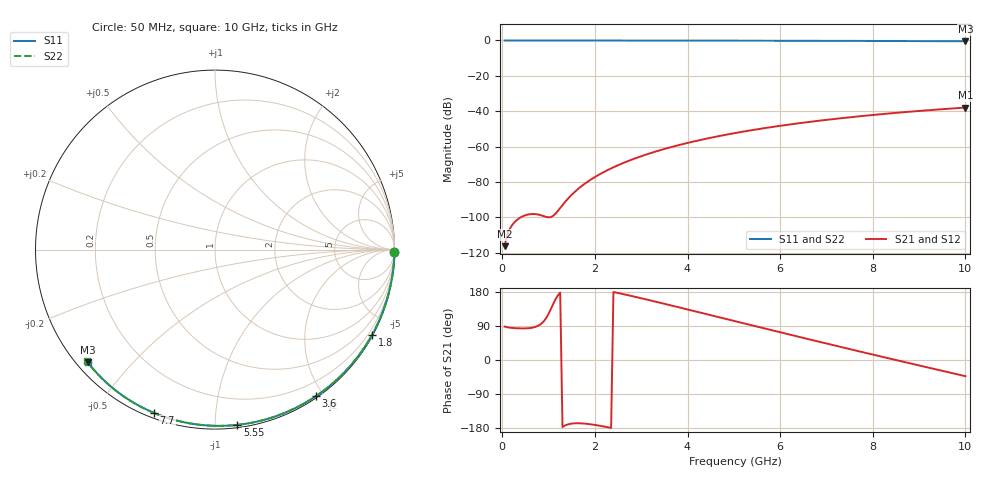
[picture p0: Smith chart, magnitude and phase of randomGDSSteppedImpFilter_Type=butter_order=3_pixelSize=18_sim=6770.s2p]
! freq	dB(S11)	phase(S11)	dB(S12)	phase(S12)
!  dB(S21)	phase(S21)	dB(S22)	phase(S22)
!S-par simulation data
#  GHz  S  DB  R 50
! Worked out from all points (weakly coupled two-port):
!   200 points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, 50 MHz to 10 GHz, reference 50 ohm
!   highest |S21| = -37.92 dB at 10 GHz (marker M1); lowest = -116.2 dB at 50 MHz (marker M2)
!   lowest |S11| = -0.5 dB at 10 GHz (marker M3), VSWR 36.94, Z = 1.55 - j18.9 ohm
!   |S11| at or under -10 dB: nowhere
!   |S22| runs from -0.5 to 0.0 dB; largest |S21 - S12| = 0
!   S11 on the Smith chart (normalised r, x): 50 MHz: open; 1.8 GHz: 0.03, -3.95; 3.6 GHz: 0.02, -1.90; 5.55 GHz: 0.02, -1.14; 7.7 GHz: 0.02, -0.69; 10 GHz: 0.03, -0.38
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0.05  -0.00 -0.8  -116.24 88.1  -116.24 88.1  -0.00 -0.8
0.45  -0.01 -7.2  -99.25 83.3  -99.25 83.3  -0.01 -7.2
0.9  -0.02 -14.3  -99.32 102.8  -99.32 102.8  -0.02 -14.4
1.75  -0.04 -27.6  -81.55 -167.5  -81.55 -167.5  -0.04 -27.7
1.8  -0.04 -28.4  -80.59 -168.1  -80.59 -168.1  -0.04 -28.5
1.85  -0.04 -29.2  -79.69 -168.8  -79.69 -168.8  -0.04 -29.3
2.05  -0.04 -32.2  -76.40 -172.3  -76.40 -172.3  -0.04 -32.4
2.25  -0.05 -35.3  -73.56 -176.8  -73.56 -176.8  -0.05 -35.5
2.55  -0.05 -39.9  -69.92 175.5  -69.92 175.5  -0.05 -40.0
2.95  -0.06 -45.9  -65.86 164.4  -65.86 164.4  -0.06 -46.1
3.4  -0.07 -52.5  -62.07 151.3  -62.07 151.3  -0.07 -52.8
3.6  -0.07 -55.4  -60.58 145.4  -60.58 145.4  -0.07 -55.7
3.9  -0.08 -59.8  -58.54 136.4  -58.54 136.4  -0.08 -60.0
4.3  -0.09 -65.5  -56.10 124.4  -56.10 124.4  -0.09 -65.8
5.05  -0.12 -75.9  -52.21 101.7  -52.21 101.7  -0.12 -76.3
5.55  -0.14 -82.7  -50.00 86.7  -50.00 86.7  -0.14 -83.1
6.1  -0.16 -90.0  -47.86 70.2  -47.86 70.2  -0.16 -90.4
6.7  -0.19 -97.8  -45.80 52.3  -45.80 52.3  -0.19 -98.2
7.7  -0.25 -110.4  -42.88 23.0  -42.88 23.0  -0.25 -110.9
8.35  -0.30 -118.5  -41.26 4.2  -41.26 4.2  -0.30 -119.0
9.2  -0.38 -128.8  -39.42 -20.1  -39.42 -20.1  -0.38 -129.3
10  -0.47 -138.5  -37.92 -42.7  -37.92 -42.7  -0.47 -139.0
